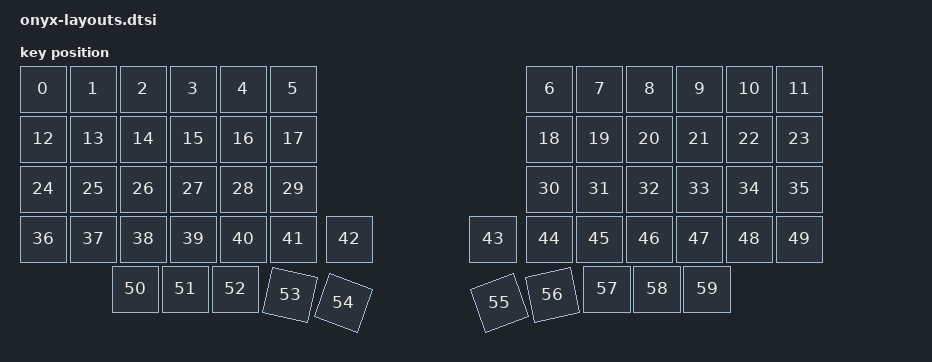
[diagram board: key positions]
#include <physical_layouts.dtsi>

/ {
    onyx_layout: onyx_layout {
        compatible = "zmk,physical-layout";
        display-name = "ONYX";

        keys  //                     w   h    x    y     rot    rx    ry
            = <&key_physical_attrs 100 100    0    0       0     0     0>
            , <&key_physical_attrs 100 100  100    0       0     0     0>
            , <&key_physical_attrs 100 100  200    0       0     0     0>
            , <&key_physical_attrs 100 100  300    0       0     0     0>
            , <&key_physical_attrs 100 100  400    0       0     0     0>
            , <&key_physical_attrs 100 100  500    0       0     0     0>
            , <&key_physical_attrs 100 100 1013    0       0     0     0>
            , <&key_physical_attrs 100 100 1113    0       0     0     0>
            , <&key_physical_attrs 100 100 1213    0       0     0     0>
            , <&key_physical_attrs 100 100 1313    0       0     0     0>
            , <&key_physical_attrs 100 100 1413    0       0     0     0>
            , <&key_physical_attrs 100 100 1513    0       0     0     0>
            , <&key_physical_attrs 100 100    0  100       0     0     0>
            , <&key_physical_attrs 100 100  100  100       0     0     0>
            , <&key_physical_attrs 100 100  200  100       0     0     0>
            , <&key_physical_attrs 100 100  300  100       0     0     0>
            , <&key_physical_attrs 100 100  400  100       0     0     0>
            , <&key_physical_attrs 100 100  500  100       0     0     0>
            , <&key_physical_attrs 100 100 1013  100       0     0     0>
            , <&key_physical_attrs 100 100 1113  100       0     0     0>
            , <&key_physical_attrs 100 100 1213  100       0     0     0>
            , <&key_physical_attrs 100 100 1313  100       0     0     0>
            , <&key_physical_attrs 100 100 1413  100       0     0     0>
            , <&key_physical_attrs 100 100 1513  100       0     0     0>
            , <&key_physical_attrs 100 100    0  200       0     0     0>
            , <&key_physical_attrs 100 100  100  200       0     0     0>
            , <&key_physical_attrs 100 100  200  200       0     0     0>
            , <&key_physical_attrs 100 100  300  200       0     0     0>
            , <&key_physical_attrs 100 100  400  200       0     0     0>
            , <&key_physical_attrs 100 100  500  200       0     0     0>
            , <&key_physical_attrs 100 100 1013  200       0     0     0>
            , <&key_physical_attrs 100 100 1113  200       0     0     0>
            , <&key_physical_attrs 100 100 1213  200       0     0     0>
            , <&key_physical_attrs 100 100 1313  200       0     0     0>
            , <&key_physical_attrs 100 100 1413  200       0     0     0>
            , <&key_physical_attrs 100 100 1513  200       0     0     0>
            , <&key_physical_attrs 100 100    0  300       0     0     0>
            , <&key_physical_attrs 100 100  100  300       0     0     0>
            , <&key_physical_attrs 100 100  200  300       0     0     0>
            , <&key_physical_attrs 100 100  300  300       0     0     0>
            , <&key_physical_attrs 100 100  400  300       0     0     0>
            , <&key_physical_attrs 100 100  500  300       0     0     0>
            , <&key_physical_attrs 100 100  613  300       0     0     0>
            , <&key_physical_attrs 100 100  900  300       0     0     0>
            , <&key_physical_attrs 100 100 1013  300       0     0     0>
            , <&key_physical_attrs 100 100 1113  300       0     0     0>
            , <&key_physical_attrs 100 100 1213  300       0     0     0>
            , <&key_physical_attrs 100 100 1313  300       0     0     0>
            , <&key_physical_attrs 100 100 1413  300       0     0     0>
            , <&key_physical_attrs 100 100 1513  300       0     0     0>
            , <&key_physical_attrs 100 100  185  400       0     0     0>
            , <&key_physical_attrs 100 100  285  400       0     0     0>
            , <&key_physical_attrs 100 100  385  400       0     0     0>
            , <&key_physical_attrs 100 100  494  412    1200   544   462>
            , <&key_physical_attrs 100 100  601  428    2000   651   478>
            , <&key_physical_attrs 100 100  913  428 (-2000)   963   478>
            , <&key_physical_attrs 100 100 1019  412 (-1200)  1069   462>
            , <&key_physical_attrs 100 100 1128  400       0     0     0>
            , <&key_physical_attrs 100 100 1228  400       0     0     0>
            , <&key_physical_attrs 100 100 1328  400       0     0     0>
            ;
    };
};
